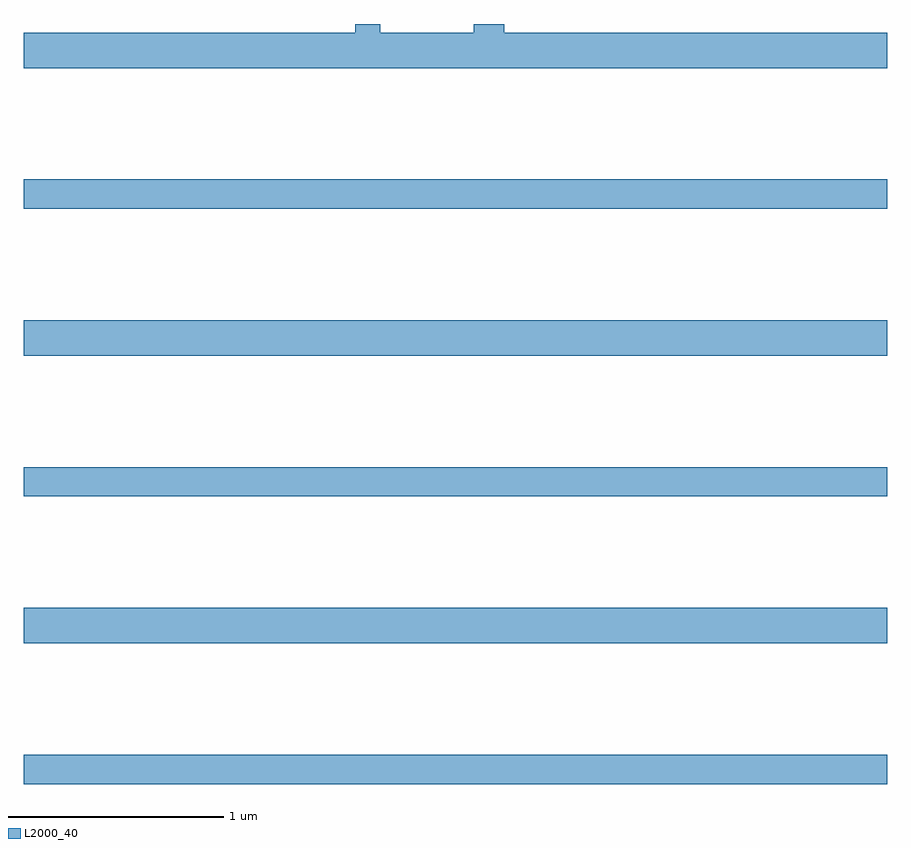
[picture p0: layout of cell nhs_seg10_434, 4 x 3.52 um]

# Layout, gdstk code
import gdstk
lib = gdstk.Library(unit=1e-6, precision=1e-09)
def R(c, l, rs):  # rectangles x0, y0, x1, y1
    for r in rs: c.add(gdstk.rectangle(r[:2], r[2:], *l))
def A(c, l, x, y, w, h, nx, ny, dx, dy):  # array of equal rectangles
    R(c, l, [(x+i*dx, y+j*dy, x+i*dx+w, y+j*dy+h) for i in range(nx) for j in range(ny)])
def P(c, l, *ps):  # polygons
    for p in ps: c.add(gdstk.Polygon(p, *l))
L2000_40 = (2000, 40)

nhs_seg10_434 = lib.new_cell('nhs_seg10_434')
A(nhs_seg10_434, L2000_40, 131, 1316.98, 4, 0.136, 1, 3, 0, 1.332)
R(nhs_seg10_434, L2000_40, [(131,1317.632,135,1317.796), (131,1318.964,135,1319.128)])
P(nhs_seg10_434, L2000_40, [(135,1320.46),(133.225,1320.46),(133.225,1320.5),(133.085,1320.5),(133.085,1320.46),(132.651,1320.46),(132.651,1320.5),(132.535,1320.5),(132.535,1320.46),(131,1320.46),(131,1320.296),(135,1320.296)])

lib.write_gds('nhs_seg10_434.gds')
